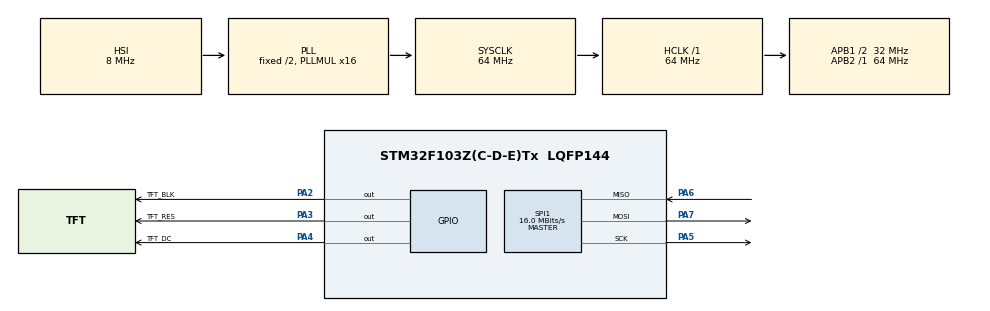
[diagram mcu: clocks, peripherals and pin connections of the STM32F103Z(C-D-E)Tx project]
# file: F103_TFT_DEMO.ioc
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Dma.Request0=SPI1_TX
Dma.SPI1_TX.0.Direction=DMA_MEMORY_TO_PERIPH
Dma.SPI1_TX.0.Instance=DMA1_Channel3
Dma.SPI1_TX.0.MemDataAlignment=DMA_MDATAALIGN_BYTE
Dma.SPI1_TX.0.MemInc=DMA_MINC_ENABLE
Dma.SPI1_TX.0.Mode=DMA_NORMAL
Dma.SPI1_TX.0.PeriphDataAlignment=DMA_PDATAALIGN_BYTE
Dma.SPI1_TX.0.PeriphInc=DMA_PINC_DISABLE
Dma.SPI1_TX.0.Priority=DMA_PRIORITY_LOW
Mcu.Family=STM32F1
Mcu.Name=STM32F103Z(C-D-E)Tx
Mcu.Package=LQFP144
NVIC.DMA1_Channel3_IRQn=true\:0\:0\:false\:false\:true\:false\:true\:true
NVIC.PriorityGroup=NVIC_PRIORITYGROUP_4
NVIC.SPI1_IRQn=true\:0\:0\:false\:false\:true\:true\:true\:true
PA13.Mode=Serial_Wire
PA13.Signal=SYS_JTMS-SWDIO
PA14.Mode=Serial_Wire
PA14.Signal=SYS_JTCK-SWCLK
PA2.GPIO_Label=TFT_BLK
PA2.Signal=GPIO_Output
PA3.GPIO_Label=TFT_RES
PA3.Signal=GPIO_Output
PA4.GPIO_Label=TFT_DC
PA4.Signal=GPIO_Output
PA5.Mode=Full_Duplex_Master
PA5.Signal=SPI1_SCK
PA6.Mode=Full_Duplex_Master
PA6.Signal=SPI1_MISO
PA7.Mode=Full_Duplex_Master
PA7.Signal=SPI1_MOSI
ProjectManager.HeapSize=0x200
ProjectManager.StackSize=0x400
ProjectManager.TargetToolchain=STM32CubeIDE
RCC.AHBFreq_Value=64000000
RCC.APB1CLKDivider=RCC_HCLK_DIV2
RCC.APB1Freq_Value=32000000
RCC.APB1TimFreq_Value=64000000
RCC.APB2Freq_Value=64000000
RCC.APB2TimFreq_Value=64000000
RCC.HCLKFreq_Value=64000000
RCC.PLLMUL=RCC_PLL_MUL16
RCC.SYSCLKFreq_VALUE=64000000
RCC.SYSCLKSource=RCC_SYSCLKSOURCE_PLLCLK
RCC.USBFreq_Value=64000000
SPI1.BaudRatePrescaler=SPI_BAUDRATEPRESCALER_4
SPI1.CalculateBaudRate=16.0 MBits/s
SPI1.Direction=SPI_DIRECTION_2LINES
SPI1.Mode=SPI_MODE_MASTER
SPI1.VirtualType=VM_MASTER
board=custom

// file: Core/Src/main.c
/* USER CODE BEGIN Header */
/**
  ******************************************************************************
  * @file           : main.c
  * @brief          : Main program body
  ******************************************************************************
  * @attention
  *
  * Copyright (c) 2026 STMicroelectronics.
  * All rights reserved.
  *
  * This software is licensed under terms that can be found in the LICENSE file
  * in the root directory of this software component.
  * If no LICENSE file comes with this software, it is provided AS-IS.
  *
  ******************************************************************************
  */
/* USER CODE END Header */
#include "main.h"
#include "dma.h"
#include "spi.h"
#include "gpio.h"

/* USER CODE BEGIN Includes */
#include "tft.h"
#include "video.h"
/* USER CODE END Includes */

void SystemClock_Config(void);

int main(void)
{

  /* MCU Configuration--------------------------------------------------------*/

  /* Reset of all peripherals, Initializes the Flash interface and the Systick. */
  HAL_Init();

  /* Configure the system clock */
  SystemClock_Config();

  /* Initialize all configured peripherals */
  MX_GPIO_Init();
  MX_DMA_Init();
  MX_SPI1_Init();
  /* USER CODE BEGIN 2 */
  TFT_Init();
  TFT_SetRotation(TFT_ROTATION_90);  /* 横屏 320×240 */
  TFT_FillScreen(TFT_BLACK);
  /* USER CODE END 2 */

  /* Infinite loop */
  while (1)
  {

    /* USER CODE BEGIN 3 */
    /* --- 视频 + FPS --- */
    {
        uint32_t fps_tick = HAL_GetTick();
        uint16_t fps_cnt = 0;
        char fps_str[] = "FPS:   ";

        while (1)
        {
            for (uint16_t f = 0; f < 50; f++)
            {
                TFT_DrawBitmap1BPP(0, 0, 320, 240, bmp[f], TFT_WHITE, TFT_BLACK);

                fps_cnt++;
                if (HAL_GetTick() - fps_tick >= 200)
                {
                    uint16_t v = fps_cnt * 1000 / (HAL_GetTick() - fps_tick);
                    fps_str[5] = v >= 10 ? '0' + v / 10 : ' ';
                    fps_str[6] = '0' + v % 10;
                    fps_cnt = 0;
                    fps_tick = HAL_GetTick();
                }
                TFT_DrawString(2, 228, fps_str, &afont12x6, TFT_YELLOW, TFT_BLACK);
            }
        }
    }
  /* USER CODE END 3 */
  }
}

void SystemClock_Config(void)
{
  RCC_OscInitTypeDef RCC_OscInitStruct = {0};
  RCC_ClkInitTypeDef RCC_ClkInitStruct = {0};

  /** Initializes the RCC Oscillators according to the specified parameters
  * in the RCC_OscInitTypeDef structure.
  */
  RCC_OscInitStruct.OscillatorType = RCC_OSCILLATORTYPE_HSI;
  RCC_OscInitStruct.HSIState = RCC_HSI_ON;
  RCC_OscInitStruct.HSICalibrationValue = RCC_HSICALIBRATION_DEFAULT;
  RCC_OscInitStruct.PLL.PLLState = RCC_PLL_ON;
  RCC_OscInitStruct.PLL.PLLSource = RCC_PLLSOURCE_HSI_DIV2;
  RCC_OscInitStruct.PLL.PLLMUL = RCC_PLL_MUL16;
  if (HAL_RCC_OscConfig(&RCC_OscInitStruct) != HAL_OK)
  {
    Error_Handler();
  }

  /** Initializes the CPU, AHB and APB buses clocks
  */
  RCC_ClkInitStruct.ClockType = RCC_CLOCKTYPE_HCLK|RCC_CLOCKTYPE_SYSCLK
                              |RCC_CLOCKTYPE_PCLK1|RCC_CLOCKTYPE_PCLK2;
  RCC_ClkInitStruct.SYSCLKSource = RCC_SYSCLKSOURCE_PLLCLK;
  RCC_ClkInitStruct.AHBCLKDivider = RCC_SYSCLK_DIV1;
  RCC_ClkInitStruct.APB1CLKDivider = RCC_HCLK_DIV2;
  RCC_ClkInitStruct.APB2CLKDivider = RCC_HCLK_DIV1;

  if (HAL_RCC_ClockConfig(&RCC_ClkInitStruct, FLASH_LATENCY_2) != HAL_OK)
  {
    Error_Handler();
  }
}

void Error_Handler(void)
{
  __disable_irq();
  while (1)
  {
  }
}
